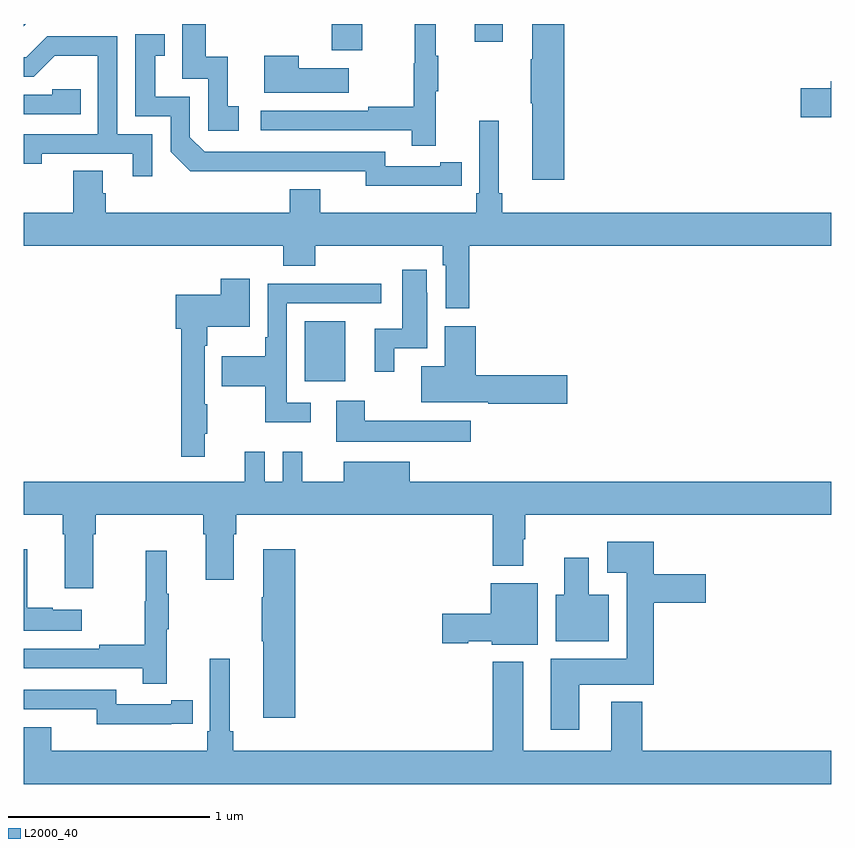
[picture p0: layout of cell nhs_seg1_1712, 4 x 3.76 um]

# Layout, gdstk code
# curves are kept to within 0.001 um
import gdstk
lib = gdstk.Library(unit=1e-6, precision=1e-09)
def R(c, l, rs):  # rectangles x0, y0, x1, y1
    for r in rs: c.add(gdstk.rectangle(r[:2], r[2:], *l))
def P(c, l, *ps):  # polygons
    for p in ps: c.add(gdstk.Polygon(p, *l))
L2000_40 = (2000, 40)

nhs_seg1_1712 = lib.new_cell('nhs_seg1_1712')
R(nhs_seg1_1712, L2000_40, [(206.393,516.431,206.593,516.727), (206.525,518.07,206.677,518.199), (207.233,518.112,207.373,518.199)])
P(nhs_seg1_1712, L2000_40, [(206.065,517.791),(206.012,517.791),(206.012,518.038),(205.901,518.038),(205.901,518.199),(205.785,518.199),(205.785,517.929),(205.914,517.929),(205.914,517.671),(206.065,517.671)],
  [(205.011,518.199),(205,518.199),(205,518.188)],
  [(207.041,517.867),(207.052,517.867),(207.052,518.041),(207.041,518.041),(207.041,518.199),(206.938,518.199),(206.938,518.004),(206.931,518.004),(206.931,517.79),(206.707,517.79),(206.707,517.77),(206.175,517.77),(206.175,517.674),(206.923,517.674),(206.923,517.596),(207.041,517.596)],
  [(207.677,518.199),(207.518,518.199),(207.518,518.024),(207.511,518.024),(207.511,517.807),(207.518,517.807),(207.518,517.428),(207.677,517.428)],
  [(207.062,517.398),(207.17,517.398),(207.17,517.514),(207.062,517.514),(207.062,517.494),(206.79,517.494),(206.79,517.566),(205.896,517.566),(205.824,517.638),(205.824,517.839),(205.651,517.839),(205.651,518.043),(205.7,518.043),(205.7,518.149),(205.554,518.149),(205.554,517.743),(205.728,517.743),(205.728,517.566),(205.826,517.469),(206.694,517.47),(206.694,517.397)],
  [(205.638,517.653),(205.464,517.653),(205.464,518.139),(205.118,518.139),(205.013,518.034),(205,518.034),(205,517.938),(205.05,517.938),(205.154,518.042),(205.368,518.042),(205.368,517.653),(205,517.653),(205,517.506),(205.09,517.506),(205.09,517.557),(205.541,517.557),(205.541,517.446),(205.638,517.446)],
  [(206.611,517.981),(206.363,517.981),(206.363,518.041),(206.192,518.041),(206.192,517.859),(206.611,517.859)],
  [(209,517.916),(208.997,517.916),(208.997,517.88),(208.848,517.88),(208.848,517.738),(209,517.738)],
  [(205.283,517.875),(205.143,517.875),(205.143,517.848),(205,517.848),(205,517.752),(205.283,517.752)],
  [(207.206,517.1),(209,517.1),(209,517.264),(207.371,517.264),(207.371,517.36),(207.352,517.36),(207.352,517.72),(207.255,517.72),(207.255,517.36),(207.242,517.36),(207.242,517.264),(206.47,517.264),(206.47,517.381),(206.318,517.381),(206.318,517.264),(205.406,517.264),(205.406,517.362),(205.393,517.362),(205.393,517.472),(205.246,517.472),(205.246,517.264),(205,517.264),(205,517.1),(206.285,517.1),(206.285,517.001),(206.445,517.001),(206.445,517.1),(207.075,517.1),(207.075,517.004),(207.09,517.004),(207.09,516.792),(207.206,516.792)],
  [(206.836,516.594),(206.998,516.594),(206.998,516.869),(206.997,516.869),(206.997,516.982),(206.876,516.982),(206.876,516.69),(206.738,516.69),(206.738,516.477),(206.836,516.477)],
  [(205.898,516.169),(205.909,516.169),(205.909,516.317),(205.896,516.317),(205.896,516.605),(205.909,516.605),(205.909,516.701),(206.119,516.701),(206.119,516.937),(205.976,516.937),(205.976,516.859),(205.754,516.859),(205.754,516.689),(205.78,516.689),(205.78,516.057),(205.898,516.057)],
  [(206.422,516.324),(206.304,516.324),(206.304,516.816),(206.77,516.816),(206.77,516.914),(206.533,516.914),(206.533,516.912),(206.208,516.912),(206.208,516.649),(206.196,516.649),(206.196,516.553),(205.981,516.553),(205.981,516.406),(206.196,516.406),(206.196,516.227),(206.422,516.227)],
  [(207.691,516.461),(207.239,516.461),(207.239,516.703),(207.086,516.703),(207.086,516.505),(206.969,516.505),(206.969,516.326),(207.301,516.326),(207.301,516.319),(207.691,516.319)],
  [(207.214,516.235),(206.689,516.235),(206.689,516.334),(206.549,516.334),(206.549,516.131),(207.214,516.131)],
  [(205.345,515.672),(205.358,515.672),(205.358,515.768),(205.889,515.768),(205.889,515.672),(205.901,515.672),(205.901,515.448),(206.041,515.448),(206.041,515.672),(206.054,515.672),(206.054,515.768),(207.323,515.768),(207.323,515.516),(207.475,515.516),(207.475,515.648),(207.483,515.648),(207.483,515.768),(209,515.768),(209,515.932),(206.911,515.932),(206.911,516.031),(206.585,516.031),(206.585,515.932),(206.381,515.932),(206.381,516.082),(206.283,516.082),(206.283,515.932),(206.193,515.932),(206.193,516.082),(206.096,516.082),(206.096,515.932),(205,515.932),(205,515.768),(205.193,515.768),(205.193,515.672),(205.205,515.672),(205.205,515.406),(205.345,515.406)],
  [(207.751,514.928),(208.121,514.928),(208.121,515.333),(208.378,515.333),(208.378,515.475),(208.121,515.475),(208.121,515.635),(207.891,515.635),(207.891,515.483),(207.986,515.483),(207.986,515.056),(207.611,515.056),(207.611,514.704),(207.751,514.704)],
  [(205.288,515.299),(205.145,515.299),(205.145,515.309),(205.018,515.309),(205.018,515.599),(205,515.599),(205,515.195),(205.288,515.195)],
  [(206.345,515.599),(206.186,515.599),(206.186,515.36),(206.179,515.36),(206.179,515.143),(206.186,515.143),(206.186,514.764),(206.345,514.764)],
  [(205.709,515.203),(205.72,515.203),(205.72,515.377),(205.709,515.377),(205.709,515.59),(205.606,515.59),(205.606,515.34),(205.599,515.34),(205.599,515.126),(205.375,515.126),(205.375,515.106),(205,515.106),(205,515.01),(205.591,515.01),(205.591,514.932),(205.709,514.932)],
  [(207.898,515.374),(207.799,515.374),(207.799,515.557),(207.677,515.557),(207.677,515.374),(207.635,515.374),(207.635,515.144),(207.898,515.144)],
  [(207.547,515.431),(207.314,515.431),(207.314,515.279),(207.072,515.279),(207.072,515.132),(207.201,515.132),(207.201,515.144),(207.318,515.144),(207.318,515.126),(207.547,515.126)],
  [(209,514.6),(208.064,514.6),(208.064,514.843),(207.911,514.843),(207.911,514.6),(207.475,514.6),(207.475,515.041),(207.323,515.041),(207.323,514.6),(206.039,514.6),(206.039,514.696),(206.02,514.696),(206.02,515.056),(205.923,515.056),(205.923,514.696),(205.91,514.696),(205.91,514.6),(205.138,514.6),(205.138,514.717),(205,514.717),(205,514.436),(209,514.436)],
  [(205.73,514.734),(205.838,514.734),(205.838,514.85),(205.73,514.85),(205.73,514.83),(205.458,514.83),(205.458,514.902),(205,514.902),(205,514.806),(205.362,514.806),(205.362,514.733),(205.73,514.733)])

lib.write_gds('nhs_seg1_1712.gds')
